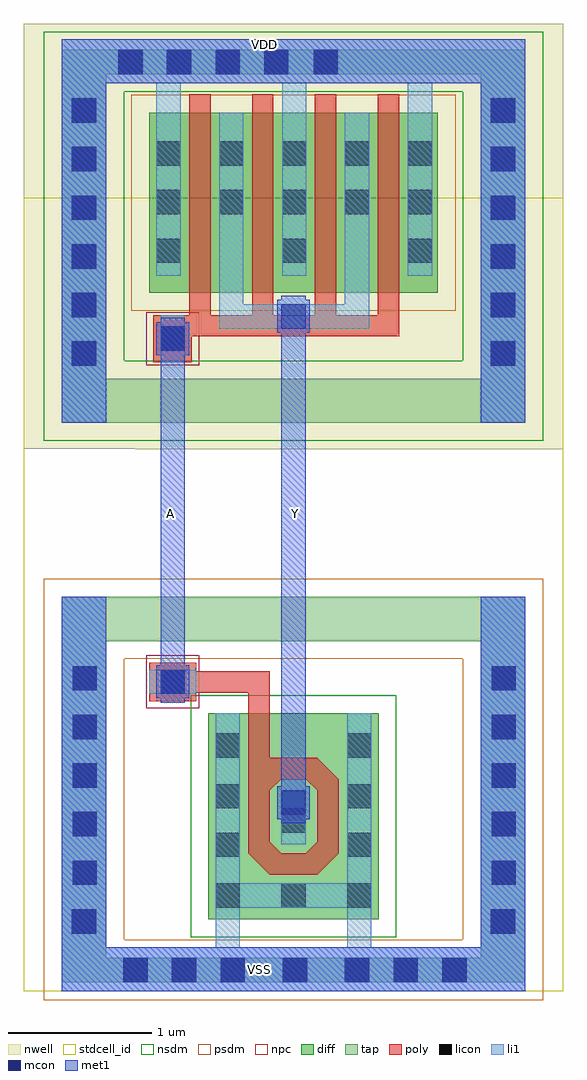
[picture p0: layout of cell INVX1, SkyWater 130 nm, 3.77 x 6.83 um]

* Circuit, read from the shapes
.subckt INVX1 A VDD VSS Y
XM1 VSS A Y VSS sky130_fd_pr__nfet_01v8 w=2.535 l=0.1454
XM2 Y A VDD VDD sky130_fd_pr__pfet_01v8 w=1.26 l=0.15 m=4
.ends

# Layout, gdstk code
from math import pi, radians
import gdstk
lib = gdstk.Library(unit=1e-6, precision=1e-09)
def R(c, l, rs):  # rectangles x0, y0, x1, y1
    for r in rs: c.add(gdstk.rectangle(r[:2], r[2:], *l))
def A(c, l, x, y, w, h, nx, ny, dx, dy):  # array of equal rectangles
    R(c, l, [(x+i*dx, y+j*dy, x+i*dx+w, y+j*dy+h) for i in range(nx) for j in range(ny)])
def P(c, l, *ps):  # polygons
    for p in ps: c.add(gdstk.Polygon(p, *l))
nwell = (64, 20)
diff = (65, 20)
tap = (65, 44)
poly = (66, 20)
licon = (66, 44)
li1 = (67, 20)
mcon = (67, 44)
met1 = (68, 20)
stdcell_id = (81, 4)
nsdm = (93, 44)
psdm = (94, 20)
npc = (95, 20)

poly_li1_contact_para = lib.new_cell('poly_li1_contact_para')
R(poly_li1_contact_para, poly, [(0.35,1.995,0.62,2.325)])
R(poly_li1_contact_para, licon, [(0.4,2.075,0.57,2.245)])
R(poly_li1_contact_para, li1, [(0.4,1.995,0.57,2.325)])
R(poly_li1_contact_para, mcon, [(0.4,2.075,0.57,2.245)])
R(poly_li1_contact_para, met1, [(0.4,1.895,0.57,2.045), (0.37,2.045,0.6,2.275), (0.4,2.275,0.57,2.305)])
R(poly_li1_contact_para, npc, [(0.3,1.975,0.67,2.345)])

poly_li1_contact_perp = lib.new_cell('poly_li1_contact_perp')
R(poly_li1_contact_perp, poly, [(0.22,2.125,0.55,2.395)])
R(poly_li1_contact_perp, licon, [(0.3,2.175,0.47,2.345)])
R(poly_li1_contact_perp, li1, [(0.22,2.175,0.55,2.345)])
R(poly_li1_contact_perp, mcon, [(0.3,2.175,0.47,2.345)])
R(poly_li1_contact_perp, met1, [(0.3,1.995,0.47,2.145), (0.27,2.145,0.5,2.375), (0.3,2.375,0.47,2.405)])
R(poly_li1_contact_perp, npc, [(0.2,2.075,0.57,2.445)])

diff_ring_side = lib.new_cell('diff_ring_side')
R(diff_ring_side, nwell, [(-0.795,3.795,0.045,6.765)])
R(diff_ring_side, tap, [(-0.53,0.065,-0.22,2.76), (-0.53,3.975,-0.22,6.585)])
A(diff_ring_side, licon, -0.455, 0.745, 0.17, 0.17, 1, 5, 0, 0.34)
A(diff_ring_side, licon, -0.46, 4.375, 0.17, 0.17, 1, 6, 0, 0.34)
R(diff_ring_side, licon, [(-0.46,0.405,-0.29,0.575)])
R(diff_ring_side, li1, [(-0.53,0,-0.22,2.76), (-0.53,3.975,-0.22,6.66)])
A(diff_ring_side, mcon, -0.455, 0.745, 0.17, 0.17, 1, 5, 0, 0.34)
A(diff_ring_side, mcon, -0.46, 4.375, 0.17, 0.17, 1, 6, 0, 0.34)
R(diff_ring_side, mcon, [(-0.46,0.405,-0.29,0.575)])
R(diff_ring_side, met1, [(-0.53,0,-0.22,2.76), (-0.53,3.975,-0.22,6.66)])
R(diff_ring_side, nsdm, [(-0.655,3.85,-0.095,6.71)])
R(diff_ring_side, psdm, [(-0.655,-0.06,-0.095,2.885)])

pmos4 = lib.new_cell('pmos4')
R(pmos4, nwell, [(-0.18,-1.435,2.2,0.185)])
R(pmos4, diff, [(0,-1.255,2.02,0.005)])
A(pmos4, poly, 0.28, -1.41, 0.15, 1.545, 4, 1, 0.44, 0)
R(pmos4, poly, [(0.28,-1.56,1.75,-1.41)])
A(pmos4, licon, 0.05, -1.045, 0.17, 0.17, 3, 1, 0.88, 0)
A(pmos4, licon, 0.05, -0.705, 0.17, 0.17, 5, 2, 0.44, 0.34)
A(pmos4, li1, 0.05, -1.135, 0.17, 1.345, 3, 1, 0.88, 0)
R(pmos4, li1, [(0.49,-1.135,0.66,0.005), (1.37,-1.135,1.54,0.005)])
R(pmos4, psdm, [(-0.125,-1.38,2.145,0.13)])

li1_m1_contact_perp_ext = lib.new_cell('li1_M1_contact_perp_ext')
R(li1_m1_contact_perp_ext, li1, [(-0.085,-0.085,0.245,0.085)])
R(li1_m1_contact_perp_ext, mcon, [(-0.085,-0.085,0.085,0.085)])
R(li1_m1_contact_perp_ext, met1, [(-0.085,-0.265,0.085,-0.115), (-0.115,-0.115,0.115,0.115), (-0.085,0.115,0.085,0.145)])

li1_m1_contact_para_cent = lib.new_cell('li1_M1_contact_para_cent')
R(li1_m1_contact_para_cent, li1, [(-0.085,-0.165,0.085,0.165)])
R(li1_m1_contact_para_cent, mcon, [(-0.085,-0.085,0.085,0.085)])
R(li1_m1_contact_para_cent, met1, [(-0.085,-0.145,0.085,-0.115), (-0.115,-0.115,0.115,0.115), (-0.085,0.115,0.085,0.265)])

nmos_top = lib.new_cell('nmos_top')
R(nmos_top, diff, [(0,0,1.19,1.44)])
R(nmos_top, poly, [(0.43,0.31,0.76,0.46), (0.28,0.46,0.43,0.98), (0.76,0.46,0.91,0.98), (0.43,0.98,0.91,1.13), (0.76,1.13,0.91,1.57)])
P(nmos_top, poly, [(0.28,0.98),(0.43,0.98),(0.43,1.13)],
  [(0.43,0.9),(0.43,0.98),(0.51,0.98)],
  [(0.68,0.98),(0.76,0.98),(0.76,0.9)],
  [(0.43,0.54),(0.43,0.46),(0.51,0.46)],
  [(0.68,0.46),(0.76,0.46),(0.76,0.54)],
  [(0.28,0.46),(0.43,0.46),(0.43,0.31)],
  [(0.76,0.31),(0.76,0.46),(0.91,0.46)])
A(nmos_top, licon, 0.05, 0.08, 0.17, 0.17, 3, 1, 0.46, 0)
R(nmos_top, licon, [(0.05,0.435,0.22,0.605), (0.97,0.435,1.14,0.605), (0.51,0.605,0.68,0.775), (0.05,0.775,0.22,0.945), (0.97,0.775,1.14,0.945), (0.05,1.13,0.22,1.3), (0.97,1.13,1.14,1.3)])
R(nmos_top, li1, [(0.05,0,0.22,0.08), (0.97,0,1.14,0.08), (0.05,0.08,1.14,0.25), (0.05,0.25,0.22,1.44), (0.97,0.25,1.14,1.44), (0.51,0.525,0.68,0.855)])
R(nmos_top, nsdm, [(-0.125,-0.125,1.315,1.565)])

invx1 = lib.new_cell('INVX1')
R(invx1, nwell, [(0.36,3.79,3.35,3.8), (0.08,3.8,3.35,3.805), (-0.335,3.805,3.35,6.76), (-0.42,6.76,3.35,6.765)])
R(invx1, diff, [(1.38,1.585,1.55,1.63)])
R(invx1, tap, [(0.155,0.065,2.775,0.235), (0.155,2.45,2.78,2.76), (0.155,3.975,2.775,4.285), (0.155,6.415,2.78,6.585)])
R(invx1, poly, [(1.15,2.015,1.3,2.09), (0.735,2.09,1.3,2.24)])
A(invx1, licon, 0.275, 0.065, 0.17, 0.17, 3, 1, 0.34, 0)
A(invx1, licon, 1.825, 0.065, 0.17, 0.17, 3, 1, 0.34, 0)
A(invx1, licon, 0.24, 6.415, 0.17, 0.17, 4, 1, 0.34, 0)
R(invx1, licon, [(1.39,0.065,1.56,0.235), (1.605,6.415,1.775,6.585)])
R(invx1, li1, [(0.155,0,2.775,0.31), (0.92,0.31,1.09,0.505), (1.84,0.31,2.01,0.505), (0.945,4.635,1.995,4.805), (0.945,4.805,1.115,5.035), (1.825,4.805,1.995,5.005), (1.385,6.345,1.555,6.35), (0.155,6.35,2.78,6.66)])
A(invx1, mcon, 0.275, 0.065, 0.17, 0.17, 3, 1, 0.34, 0)
A(invx1, mcon, 1.825, 0.065, 0.17, 0.17, 3, 1, 0.34, 0)
A(invx1, mcon, 0.24, 6.415, 0.17, 0.17, 4, 1, 0.34, 0)
R(invx1, mcon, [(1.39,0.065,1.56,0.235), (1.605,6.415,1.775,6.585)])
R(invx1, met1, [(0.155,0,2.775,0.31), (1.38,1.585,1.55,4.555), (0.535,2.28,0.705,4.445), (0.155,6.35,2.78,6.66)])
R(invx1, stdcell_id, [(-0.42,0,3.35,5.55)])
R(invx1, nsdm, [(1.255,1.46,1.675,1.755), (0.03,3.85,2.9,4.41), (0.03,6.29,2.905,6.71)])
R(invx1, psdm, [(0.03,-0.06,2.9,0.36), (0.03,2.325,2.905,2.885)])
invx1.add(gdstk.Reference(poly_li1_contact_para, (0.135,2.405)))
invx1.add(gdstk.Reference(poly_li1_contact_perp, (1.005,4.425), rotation=pi))
invx1.add(gdstk.Reference(diff_ring_side, (3.305,0)))
invx1.add(gdstk.Reference(diff_ring_side, (0.375,0)))
invx1.add(gdstk.Reference(pmos4, (0.455,6.14)))
invx1.add(gdstk.Reference(li1_m1_contact_perp_ext, (1.465,4.72)))
invx1.add(gdstk.Reference(li1_m1_contact_para_cent, (1.465,1.32)))
invx1.add(gdstk.Reference(nmos_top, (2.06,0.505), rotation=pi, x_reflection=True))
invx1.add(gdstk.Label('VSS', (1.225,0.155), layer=68, texttype=5))
invx1.add(gdstk.Label('VDD', (1.265,6.625), layer=68, texttype=5))
invx1.add(gdstk.Label('A', (0.605,3.34), layer=68, texttype=5))
invx1.add(gdstk.Label('Y', (1.48,3.34), layer=68, texttype=5))

lib.write_gds('INVX1.gds')
